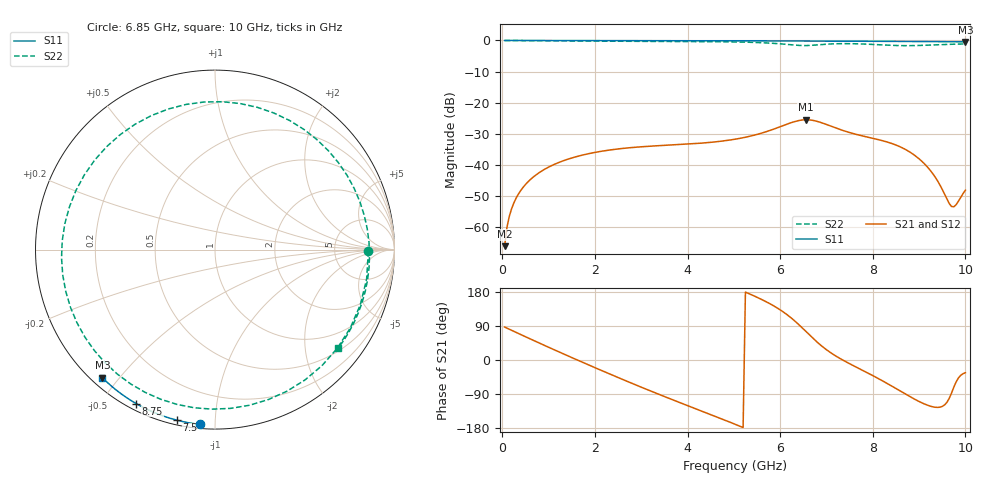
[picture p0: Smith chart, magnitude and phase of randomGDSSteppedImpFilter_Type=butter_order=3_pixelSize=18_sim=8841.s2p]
! freq	dB(S11)	phase(S11)	dB(S12)	phase(S12)
!  dB(S21)	phase(S21)	dB(S22)	phase(S22)
!S-par simulation data
#  GHz  S  DB  R 50
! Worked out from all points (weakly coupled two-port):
!   200 points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, 50 MHz to 10 GHz, reference 50 ohm
!   highest |S21| = -25.47 dB at 6.55 GHz (marker M1); lowest = -66.1 dB at 50 MHz (marker M2)
!   lowest |S11| = -0.4 dB at 10 GHz (marker M3), VSWR 39.20, Z = 1.54 - j22.6 ohm
!   |S11| at or under -10 dB: nowhere
!   |S22| runs from -1.7 to 0.0 dB; largest |S21 - S12| = 0
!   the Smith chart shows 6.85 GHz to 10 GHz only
!   S11 on the Smith chart (normalised r, x): 6.85 GHz: 0.02, -0.92; 7.5 GHz: 0.02, -0.80; 8.75 GHz: 0.03, -0.61; 10 GHz: 0.03, -0.45
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0.05  -0.00 -0.8  -66.08 86.9  -66.08 86.9  -0.01 -5.0
0.3  -0.01 -4.6  -50.61 72.7  -50.61 72.7  -0.04 -29.7
0.9  -0.02 -13.6  -41.49 39.1  -41.49 39.1  -0.11 -88.3
1.75  -0.03 -26.2  -36.75 -6.9  -36.75 -6.9  -0.19 -169.7
2.6  -0.05 -38.5  -34.68 -51.4  -34.68 -51.4  -0.24 111.3
3.4  -0.07 -49.9  -33.78 -91.5  -33.78 -91.5  -0.27 42.5
4.15  -0.09 -60.2  -33.15 -127.5  -33.15 -127.5  -0.32 -15.1
5.05  -0.11 -72.2  -31.66 -170.7  -31.66 -170.7  -0.48 -80.6
5.55  -0.13 -78.6  -29.98 162.7  -29.98 162.7  -0.69 -122.9
6  -0.16 -84.3  -27.72 132.4  -27.72 132.4  -1.08 -176.3
6.25  -0.17 -87.5  -26.35 109.9  -26.35 109.9  -1.42 140.1
6.55  -0.18 -91.1  -25.47 76.1  -25.47 76.1  -1.64 70.6
6.7  -0.19 -93.0  -25.65 58.3  -25.65 58.3  -1.54 33.5
6.85  -0.20 -94.8  -26.21 41.7  -26.21 41.7  -1.37 -0.6
7.15  -0.21 -98.4  -27.83 14.5  -27.83 14.5  -1.09 -55.4
7.5  -0.23 -102.6  -29.59 -9.9  -29.59 -9.9  -1.03 -103.7
7.95  -0.26 -107.9  -31.26 -37.9  -31.26 -37.9  -1.24 -158.2
8.35  -0.29 -112.5  -32.80 -64.6  -32.80 -64.6  -1.53 150.2
8.75  -0.32 -117.1  -35.38 -93.0  -35.38 -93.0  -1.68 94.2
9.35  -0.38 -124.0  -43.95 -124.7  -43.95 -124.7  -1.41 18.2
9.7  -0.41 -127.9  -53.31 -87.4  -53.31 -87.4  -1.22 -15.4
10  -0.44 -131.3  -48.09 -33.5  -48.09 -33.5  -1.12 -38.6
